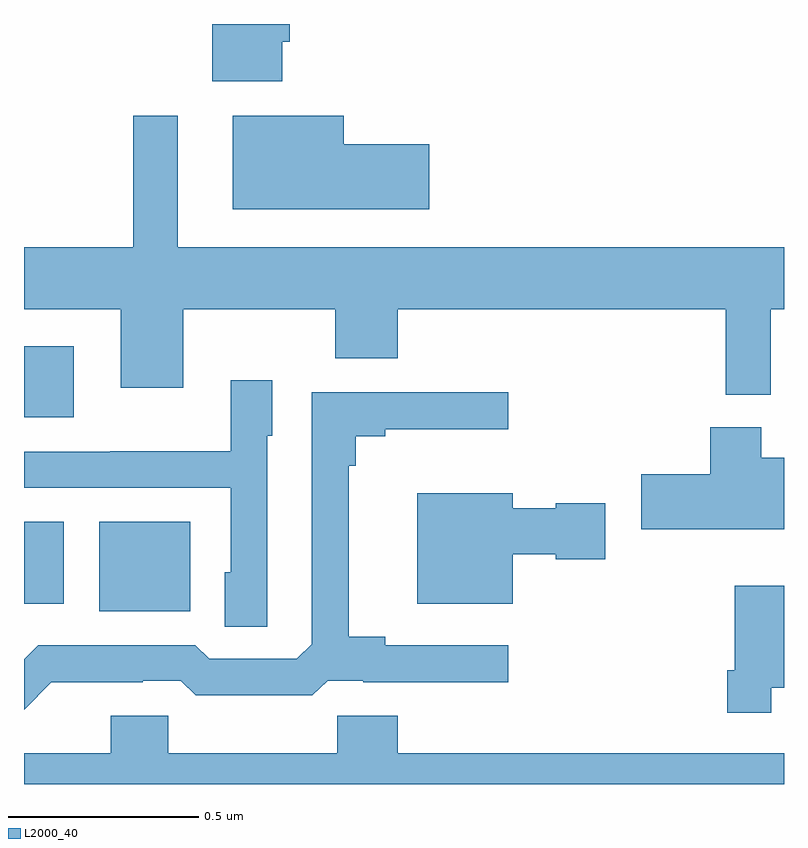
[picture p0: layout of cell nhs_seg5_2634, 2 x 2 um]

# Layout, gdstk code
import gdstk
lib = gdstk.Library(unit=1e-6, precision=1e-09)
def R(c, l, rs):  # rectangles x0, y0, x1, y1
    for r in rs: c.add(gdstk.rectangle(r[:2], r[2:], *l))
def P(c, l, *ps):  # polygons
    for p in ps: c.add(gdstk.Polygon(p, *l))
L2000_40 = (2000, 40)

nhs_seg5_2634 = lib.new_cell('nhs_seg5_2634')
R(nhs_seg5_2634, L2000_40, [(146.198,901.253,146.437,901.489), (146,901.274,146.104,901.489), (146,901.764,146.131,901.951)])
P(nhs_seg5_2634, L2000_40, [(146.679,902.752),(146.699,902.752),(146.699,902.799),(146.496,902.799),(146.496,902.648),(146.679,902.648)],
  [(147.965,902.048),(148,902.048),(148,902.212),(146.404,902.212),(146.404,902.557),(146.287,902.557),(146.287,902.212),(146,902.212),(146,902.048),(146.255,902.048),(146.255,901.842),(146.419,901.842),(146.419,902.048),(146.819,902.048),(146.819,901.92),(146.983,901.92),(146.983,902.048),(147.847,902.048),(147.847,901.823),(147.965,901.823)],
  [(147.067,902.483),(146.842,902.483),(146.842,902.557),(146.549,902.557),(146.549,902.312),(147.067,902.312)],
  [(146.64,901.716),(146.653,901.716),(146.653,901.861),(146.544,901.861),(146.544,901.675),(146.227,901.675),(146.227,901.674),(146,901.674),(146,901.578),(146.544,901.578),(146.544,901.356),(146.528,901.356),(146.528,901.213),(146.64,901.213)],
  [(146.072,901.067),(146.312,901.067),(146.312,901.071),(146.412,901.071),(146.452,901.032),(146.759,901.032),(146.799,901.071),(146.893,901.071),(146.893,901.067),(147.274,901.067),(147.274,901.164),(146.95,901.164),(146.95,901.187),(146.855,901.187),(146.855,901.637),(146.873,901.637),(146.873,901.714),(146.95,901.714),(146.95,901.733),(147.274,901.733),(147.274,901.83),(146.757,901.83),(146.757,901.167),(146.718,901.128),(146.487,901.128),(146.451,901.164),(146.037,901.164),(146,901.127),(146,900.995)],
  [(148,901.657),(147.94,901.657),(147.94,901.738),(147.806,901.738),(147.806,901.614),(147.624,901.614),(147.624,901.469),(148,901.469)],
  [(147.286,901.403),(147.399,901.403),(147.399,901.391),(147.529,901.391),(147.529,901.538),(147.399,901.538),(147.399,901.525),(147.286,901.525),(147.286,901.564),(147.035,901.564),(147.035,901.274),(147.286,901.274)],
  [(147.966,901.052),(148,901.052),(148,901.321),(147.87,901.321),(147.87,901.099),(147.85,901.099),(147.85,900.987),(147.966,900.987)],
  [(148,900.88),(146.984,900.88),(146.984,900.978),(146.824,900.978),(146.824,900.88),(146.379,900.88),(146.379,900.978),(146.228,900.978),(146.228,900.88),(146,900.88),(146,900.799),(148,900.799)])

lib.write_gds('nhs_seg5_2634.gds')
